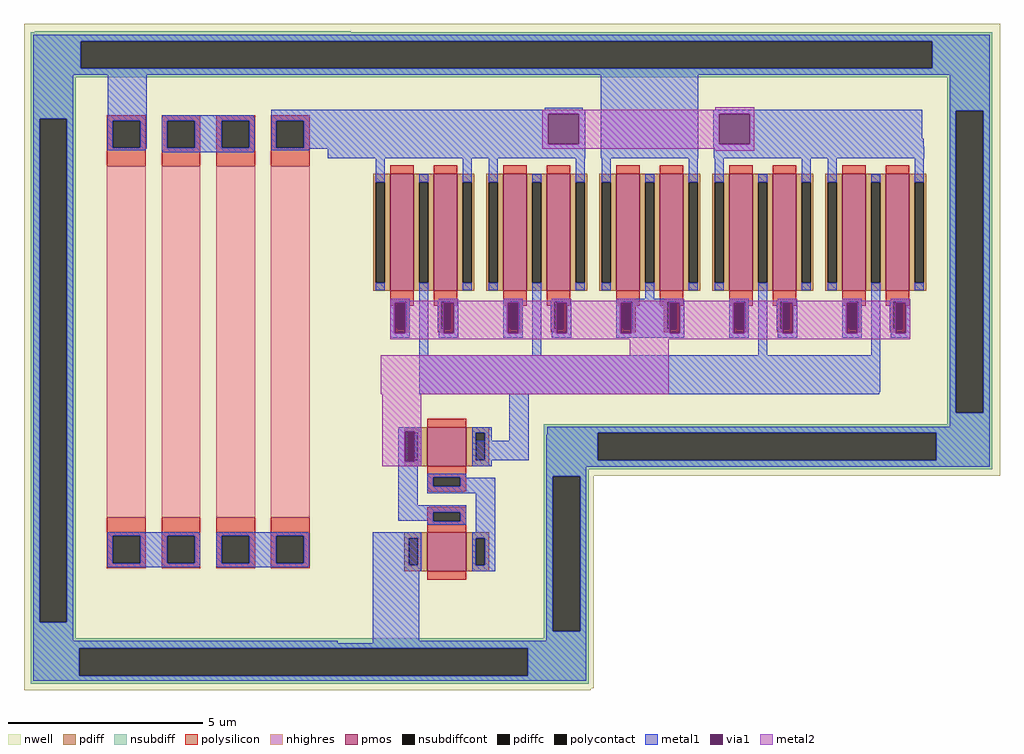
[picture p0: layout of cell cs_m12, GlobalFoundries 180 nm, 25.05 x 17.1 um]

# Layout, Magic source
magic
tech gf180mcuD
magscale 1 10
<< nwell >>
rect 1370 -360 6380 1960
rect 1370 -1450 4294 -360
rect 1370 -1460 4280 -1450
<< pmos >>
rect 3250 590 3370 1190
rect 3474 590 3594 1190
rect 3830 590 3950 1190
rect 4054 590 4174 1190
rect 4410 590 4530 1190
rect 4634 590 4754 1190
rect 4990 590 5110 1190
rect 5214 590 5334 1190
rect 5570 590 5690 1190
rect 5794 590 5914 1190
<< pdiff >>
rect 3162 1148 3250 1190
rect 3162 632 3175 1148
rect 3221 632 3250 1148
rect 3162 590 3250 632
rect 3370 1148 3474 1190
rect 3370 632 3399 1148
rect 3445 632 3474 1148
rect 3370 590 3474 632
rect 3594 1148 3682 1190
rect 3594 632 3623 1148
rect 3669 632 3682 1148
rect 3594 590 3682 632
rect 3742 1148 3830 1190
rect 3742 632 3755 1148
rect 3801 632 3830 1148
rect 3742 590 3830 632
rect 3950 1148 4054 1190
rect 3950 632 3979 1148
rect 4025 632 4054 1148
rect 3950 590 4054 632
rect 4174 1148 4262 1190
rect 4174 632 4203 1148
rect 4249 632 4262 1148
rect 4174 590 4262 632
rect 4322 1148 4410 1190
rect 4322 632 4335 1148
rect 4381 632 4410 1148
rect 4322 590 4410 632
rect 4530 1148 4634 1190
rect 4530 632 4559 1148
rect 4605 632 4634 1148
rect 4530 590 4634 632
rect 4754 1148 4842 1190
rect 4754 632 4783 1148
rect 4829 632 4842 1148
rect 4754 590 4842 632
rect 4902 1148 4990 1190
rect 4902 632 4915 1148
rect 4961 632 4990 1148
rect 4902 590 4990 632
rect 5110 1148 5214 1190
rect 5110 632 5139 1148
rect 5185 632 5214 1148
rect 5110 590 5214 632
rect 5334 1148 5422 1190
rect 5334 632 5363 1148
rect 5409 632 5422 1148
rect 5334 590 5422 632
rect 5482 1148 5570 1190
rect 5482 632 5495 1148
rect 5541 632 5570 1148
rect 5482 590 5570 632
rect 5690 1148 5794 1190
rect 5690 632 5719 1148
rect 5765 632 5794 1148
rect 5690 590 5794 632
rect 5914 1148 6002 1190
rect 5914 632 5943 1148
rect 5989 632 6002 1148
rect 5914 590 6002 632
<< pdiffc >>
rect 3175 632 3221 1148
rect 3399 632 3445 1148
rect 3623 632 3669 1148
rect 3755 632 3801 1148
rect 3979 632 4025 1148
rect 4203 632 4249 1148
rect 4335 632 4381 1148
rect 4559 632 4605 1148
rect 4783 632 4829 1148
rect 4915 632 4961 1148
rect 5139 632 5185 1148
rect 5363 632 5409 1148
rect 5495 632 5541 1148
rect 5719 632 5765 1148
rect 5943 632 5989 1148
<< nsubdiff >>
rect 1424 1918 3048 1922
rect 1404 1872 6340 1918
rect 1404 1732 1662 1872
rect 6032 1732 6340 1872
rect 1404 1686 6340 1732
rect 1404 1472 1636 1686
rect 6108 1515 6340 1686
rect 1404 -1112 1450 1472
rect 1590 -1112 1636 1472
rect 6108 -35 6154 1515
rect 6294 -35 6340 1515
rect 6108 -94 6340 -35
rect 4038 -140 6340 -94
rect 4038 -280 4316 -140
rect 6054 -280 6340 -140
rect 4038 -326 6340 -280
rect 4038 -361 4270 -326
rect 1404 -1194 1636 -1112
rect 4038 -1159 4085 -361
rect 4225 -1159 4270 -361
rect 4038 -1194 4270 -1159
rect 1404 -1245 4270 -1194
rect 1404 -1385 1654 -1245
rect 3956 -1385 4270 -1245
rect 1404 -1426 4270 -1385
<< nsubdiffcont >>
rect 1662 1732 6032 1872
rect 1450 -1112 1590 1472
rect 6154 -35 6294 1515
rect 4316 -280 6054 -140
rect 4085 -1159 4225 -361
rect 1654 -1385 3956 -1245
<< polysilicon >>
rect 1796 1464 1996 1490
rect 1796 1324 1826 1464
rect 1966 1324 1996 1464
rect 1796 1228 1996 1324
rect 1796 -668 1996 -572
rect 1796 -808 1826 -668
rect 1966 -808 1996 -668
rect 1796 -834 1996 -808
rect 2076 1464 2276 1490
rect 2076 1324 2106 1464
rect 2246 1324 2276 1464
rect 2076 1228 2276 1324
rect 2076 -668 2276 -572
rect 2076 -808 2106 -668
rect 2246 -808 2276 -668
rect 2076 -834 2276 -808
rect 2356 1464 2556 1490
rect 2356 1324 2386 1464
rect 2526 1324 2556 1464
rect 2356 1228 2556 1324
rect 2356 -668 2556 -572
rect 2356 -808 2386 -668
rect 2526 -808 2556 -668
rect 2356 -834 2556 -808
rect 2636 1464 2836 1490
rect 2636 1324 2666 1464
rect 2806 1324 2836 1464
rect 2636 1228 2836 1324
rect 3250 1190 3370 1234
rect 3474 1190 3594 1234
rect 3830 1190 3950 1234
rect 4054 1190 4174 1234
rect 4410 1190 4530 1234
rect 4634 1190 4754 1234
rect 4990 1190 5110 1234
rect 5214 1190 5334 1234
rect 5570 1190 5690 1234
rect 5794 1190 5914 1234
rect 3250 534 3370 590
rect 3250 514 3287 534
rect 3269 394 3287 514
rect 3333 514 3370 534
rect 3474 534 3594 590
rect 3474 514 3511 534
rect 3333 394 3351 514
rect 3269 378 3351 394
rect 3493 394 3511 514
rect 3557 514 3594 534
rect 3830 534 3950 590
rect 3830 514 3867 534
rect 3557 394 3575 514
rect 3493 378 3575 394
rect 3849 394 3867 514
rect 3913 514 3950 534
rect 4054 534 4174 590
rect 4054 514 4091 534
rect 3913 394 3931 514
rect 3849 378 3931 394
rect 4073 394 4091 514
rect 4137 514 4174 534
rect 4410 534 4530 590
rect 4410 514 4447 534
rect 4137 394 4155 514
rect 4073 378 4155 394
rect 4429 394 4447 514
rect 4493 514 4530 534
rect 4634 534 4754 590
rect 4634 514 4671 534
rect 4493 394 4511 514
rect 4429 378 4511 394
rect 4653 394 4671 514
rect 4717 514 4754 534
rect 4990 534 5110 590
rect 4990 514 5027 534
rect 4717 394 4735 514
rect 4653 378 4735 394
rect 5009 394 5027 514
rect 5073 514 5110 534
rect 5214 534 5334 590
rect 5214 514 5251 534
rect 5073 394 5091 514
rect 5009 378 5091 394
rect 5233 394 5251 514
rect 5297 514 5334 534
rect 5570 534 5690 590
rect 5570 514 5607 534
rect 5297 394 5315 514
rect 5233 378 5315 394
rect 5589 394 5607 514
rect 5653 514 5690 534
rect 5794 534 5914 590
rect 5794 514 5831 534
rect 5653 394 5671 514
rect 5589 378 5671 394
rect 5813 394 5831 514
rect 5877 514 5914 534
rect 5877 394 5895 514
rect 5813 378 5895 394
rect 2636 -668 2836 -572
rect 2636 -808 2666 -668
rect 2806 -808 2836 -668
rect 2636 -834 2836 -808
<< polycontact >>
rect 1826 1324 1966 1464
rect 1826 -808 1966 -668
rect 2106 1324 2246 1464
rect 2106 -808 2246 -668
rect 2386 1324 2526 1464
rect 2386 -808 2526 -668
rect 2666 1324 2806 1464
rect 3287 394 3333 534
rect 3511 394 3557 534
rect 3867 394 3913 534
rect 4091 394 4137 534
rect 4447 394 4493 534
rect 4671 394 4717 534
rect 5027 394 5073 534
rect 5251 394 5297 534
rect 5607 394 5653 534
rect 5831 394 5877 534
rect 2666 -808 2806 -668
<< nhighres >>
rect 1796 -572 1996 1228
rect 2076 -572 2276 1228
rect 2356 -572 2556 1228
rect 2636 -572 2836 1228
<< metal1 >>
rect 1417 1872 6327 1905
rect 1417 1732 1662 1872
rect 6032 1732 6327 1872
rect 1417 1699 6327 1732
rect 1417 1472 1623 1699
rect 1800 1477 2000 1699
rect 4042 1520 4238 1530
rect 2640 1498 4250 1520
rect 2080 1477 2550 1490
rect 2640 1477 4062 1498
rect 1417 -1112 1450 1472
rect 1590 -1112 1623 1472
rect 1798 1464 2000 1477
rect 1798 1324 1826 1464
rect 1966 1324 2000 1464
rect 1798 1320 2000 1324
rect 2078 1464 2554 1477
rect 2078 1324 2106 1464
rect 2246 1324 2386 1464
rect 2526 1324 2554 1464
rect 1798 1311 1994 1320
rect 2078 1311 2554 1324
rect 2638 1464 4062 1477
rect 2638 1324 2666 1464
rect 2806 1342 4062 1464
rect 4218 1342 4250 1498
rect 2806 1324 4250 1342
rect 2638 1320 4250 1324
rect 2638 1311 2834 1320
rect 2080 1300 2550 1311
rect 2930 1270 4250 1320
rect 4330 1270 4830 1699
rect 4908 1498 5980 1520
rect 4908 1342 4940 1498
rect 5096 1370 5980 1498
rect 6121 1515 6327 1699
rect 5096 1342 5989 1370
rect 4908 1330 5989 1342
rect 4910 1270 5990 1330
rect 3175 1148 3221 1270
rect 3175 592 3221 632
rect 3399 1148 3445 1188
rect 3250 534 3350 550
rect 3250 528 3287 534
rect 3250 372 3274 528
rect 3333 394 3350 534
rect 3326 372 3350 394
rect 3250 350 3350 372
rect 3399 260 3445 632
rect 3623 1148 3669 1270
rect 3623 592 3669 632
rect 3755 1148 3801 1270
rect 3755 592 3801 632
rect 3979 1148 4025 1188
rect 3500 537 3600 550
rect 3495 534 3600 537
rect 3495 394 3511 534
rect 3557 528 3600 534
rect 3495 391 3524 394
rect 3500 372 3524 391
rect 3576 372 3600 528
rect 3500 350 3600 372
rect 3830 534 3930 550
rect 3830 528 3867 534
rect 3830 372 3854 528
rect 3913 394 3930 534
rect 3906 372 3930 394
rect 3830 350 3930 372
rect 3979 260 4025 632
rect 4203 1148 4249 1270
rect 4203 592 4249 632
rect 4335 1148 4381 1270
rect 4335 592 4381 632
rect 4559 1148 4605 1188
rect 4559 550 4605 632
rect 4783 1148 4829 1270
rect 4783 592 4829 632
rect 4915 1148 4961 1270
rect 4915 592 4961 632
rect 5139 1148 5185 1188
rect 4080 537 4180 550
rect 4075 534 4180 537
rect 4075 394 4091 534
rect 4137 528 4180 534
rect 4075 391 4104 394
rect 4080 372 4104 391
rect 4156 372 4180 528
rect 4080 350 4180 372
rect 4410 534 4760 550
rect 4410 528 4447 534
rect 4410 372 4434 528
rect 4493 394 4671 534
rect 4717 528 4760 534
rect 4486 372 4684 394
rect 4736 372 4760 528
rect 4410 350 4760 372
rect 4990 534 5090 550
rect 4990 528 5027 534
rect 4990 372 5014 528
rect 5073 394 5090 534
rect 5066 372 5090 394
rect 4990 350 5090 372
rect 5139 260 5185 632
rect 5363 1148 5409 1270
rect 5363 592 5409 632
rect 5495 1148 5541 1270
rect 5495 592 5541 632
rect 5719 1148 5765 1188
rect 5240 537 5340 550
rect 5235 534 5340 537
rect 5235 394 5251 534
rect 5297 528 5340 534
rect 5235 391 5264 394
rect 5240 372 5264 391
rect 5316 372 5340 528
rect 5240 350 5340 372
rect 5570 534 5670 550
rect 5570 528 5607 534
rect 5570 372 5594 528
rect 5653 394 5670 534
rect 5646 372 5670 394
rect 5570 350 5670 372
rect 5719 260 5765 632
rect 5943 1148 5989 1270
rect 5943 592 5989 632
rect 5820 537 5920 550
rect 5815 534 5920 537
rect 5815 394 5831 534
rect 5877 528 5920 534
rect 5815 391 5844 394
rect 5820 372 5844 391
rect 5896 372 5920 528
rect 5820 350 5920 372
rect 3399 70 5765 260
rect 3400 60 5760 70
rect 3300 -132 3400 -120
rect 3300 -288 3324 -132
rect 3376 -288 3400 -132
rect 3860 -180 3960 60
rect 6121 -35 6154 1515
rect 6294 -35 6327 1515
rect 6121 -107 6327 -35
rect 4057 -140 6327 -107
rect 4057 -150 4316 -140
rect 3680 -280 3960 -180
rect 4051 -280 4316 -150
rect 6054 -280 6327 -140
rect 3300 -300 3400 -288
rect 4051 -313 6327 -280
rect 4051 -361 4257 -313
rect 1800 -655 2270 -650
rect 2360 -655 2830 -650
rect 1798 -668 2274 -655
rect 1798 -808 1826 -668
rect 1966 -808 2106 -668
rect 2246 -808 2274 -668
rect 1798 -821 2274 -808
rect 2358 -668 2834 -655
rect 2358 -808 2386 -668
rect 2526 -808 2666 -668
rect 2806 -808 2834 -668
rect 2358 -821 2834 -808
rect 1800 -830 2270 -821
rect 2360 -830 2830 -821
rect 1417 -1207 1623 -1112
rect 3160 -1207 3400 -680
rect 4051 -1159 4085 -361
rect 4225 -1159 4257 -361
rect 4051 -1207 4257 -1159
rect 1417 -1220 2980 -1207
rect 3160 -1220 4257 -1207
rect 1417 -1245 4257 -1220
rect 1417 -1385 1654 -1245
rect 3956 -1385 4257 -1245
rect 1417 -1413 4257 -1385
<< via1 >>
rect 4062 1342 4218 1498
rect 4940 1342 5096 1498
rect 3274 394 3287 528
rect 3287 394 3326 528
rect 3274 372 3326 394
rect 3524 394 3557 528
rect 3557 394 3576 528
rect 3524 372 3576 394
rect 3854 394 3867 528
rect 3867 394 3906 528
rect 3854 372 3906 394
rect 4104 394 4137 528
rect 4137 394 4156 528
rect 4104 372 4156 394
rect 4434 394 4447 528
rect 4447 394 4486 528
rect 4684 394 4717 528
rect 4717 394 4736 528
rect 4434 372 4486 394
rect 4684 372 4736 394
rect 5014 394 5027 528
rect 5027 394 5066 528
rect 5014 372 5066 394
rect 5264 394 5297 528
rect 5297 394 5316 528
rect 5264 372 5316 394
rect 5594 394 5607 528
rect 5607 394 5646 528
rect 5594 372 5646 394
rect 5844 394 5877 528
rect 5877 394 5896 528
rect 5844 372 5896 394
rect 3324 -288 3376 -132
<< metal2 >>
rect 4918 1520 5118 1532
rect 4030 1498 5118 1520
rect 4030 1342 4062 1498
rect 4218 1342 4940 1498
rect 5096 1342 5118 1498
rect 4030 1320 5118 1342
rect 4918 1308 5118 1320
rect 3250 540 3350 550
rect 3500 540 3600 550
rect 3830 540 3930 550
rect 4080 540 4180 550
rect 4410 540 4510 550
rect 4660 540 4760 550
rect 4990 540 5090 550
rect 5240 540 5340 550
rect 5570 540 5670 550
rect 5820 540 5920 550
rect 3250 528 5920 540
rect 3250 372 3274 528
rect 3326 372 3524 528
rect 3576 372 3854 528
rect 3906 372 4104 528
rect 4156 372 4434 528
rect 4486 372 4684 528
rect 4736 372 5014 528
rect 5066 372 5264 528
rect 5316 372 5594 528
rect 5646 372 5844 528
rect 5896 372 5920 528
rect 3250 340 5920 372
rect 4480 260 4680 340
rect 3200 60 4680 260
rect 3210 -132 3410 60
rect 3210 -288 3324 -132
rect 3376 -288 3410 -132
rect 3210 -310 3410 -288
use cs_m67  cs_m67_0
transform 1 0 4530 0 -1 290
box -1370 270 -640 1350
<< end >>

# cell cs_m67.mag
magic
tech gf180mcuD
magscale 1 10
<< nwell >>
rect -1370 270 -640 1350
<< pmos >>
rect -1090 940 -890 1140
rect -1090 400 -890 600
<< pdiff >>
rect -1208 1110 -1090 1140
rect -1208 970 -1185 1110
rect -1139 970 -1090 1110
rect -1208 940 -1090 970
rect -890 1110 -772 1140
rect -890 970 -841 1110
rect -795 970 -772 1110
rect -890 940 -772 970
rect -1208 570 -1090 600
rect -1208 430 -1185 570
rect -1139 430 -1090 570
rect -1208 400 -1090 430
rect -890 570 -772 600
rect -890 430 -841 570
rect -795 430 -772 570
rect -890 400 -772 430
<< pdiffc >>
rect -1185 970 -1139 1110
rect -841 970 -795 1110
rect -1185 430 -1139 570
rect -841 430 -795 570
<< polysilicon >>
rect -1090 1140 -890 1184
rect -1090 882 -890 940
rect -1090 836 -1060 882
rect -920 836 -890 882
rect -1090 810 -890 836
rect -1081 808 -899 810
rect -1081 730 -899 732
rect -1090 704 -890 730
rect -1090 658 -1060 704
rect -920 658 -890 704
rect -1090 600 -890 658
rect -1090 356 -890 400
<< polycontact >>
rect -1060 836 -920 882
rect -1060 658 -920 704
<< metal1 >>
rect -1370 1110 -1120 1140
rect -1370 970 -1185 1110
rect -1139 970 -1120 1110
rect -1370 940 -1120 970
rect -860 1110 -740 1140
rect -860 970 -841 1110
rect -795 970 -740 1110
rect -860 940 -740 970
rect -1090 882 -890 900
rect -1090 880 -1060 882
rect -1240 836 -1060 880
rect -920 836 -890 882
rect -1240 800 -890 836
rect -1240 600 -1140 800
rect -840 740 -740 940
rect -1090 704 -740 740
rect -1090 658 -1060 704
rect -920 660 -740 704
rect -920 658 -890 660
rect -1090 640 -890 658
rect -1240 570 -1120 600
rect -1240 430 -1185 570
rect -1139 430 -1120 570
rect -1240 400 -1120 430
rect -860 570 -760 600
rect -860 430 -841 570
rect -795 430 -760 570
rect -860 400 -760 430
<< end >>
